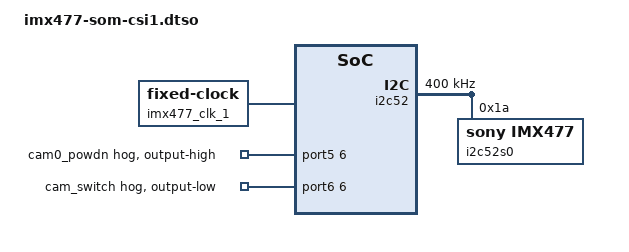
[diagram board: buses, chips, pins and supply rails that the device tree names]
// SPDX-License-Identifier: (GPL-2.0+ OR MIT)
/*
 * Copyright (c) 2025 SiMa ai
 */

/dts-v1/;
/plugin/;

/ {
    fragment@10 {
        target-path = "/"; /* Root node of the base tree */
        __overlay__ {
            imx477_clk_1: csi1_camera-clk {
                compatible = "fixed-clock";
                #clock-cells = <0>;
                clock-frequency = <24000000>;
            };
        };
    };
};

&port5 {
       cam-hog0 {
               gpio-hog;
               /* Set port5 gpio6 to GPIO_ACTIVE_HIGH mode */
               gpios = <6 0>;
               output-high;
               line-name = "cam0_powdn";
       };
};

&port6 {
       cam-tog {
               gpio-hog;
               /* Set port6 gpio6 to GPIO_ACTIVE_HIGH mode */
               gpios = <6 0>;
               output-low;
               line-name = "cam_switch";
       };
};

&i2c52 {
        status = "okay";
        clock-frequency = <400000>;
        #address-cells = <1>;
        #size-cells = <0>;

        i2c52s0: sensor@1a {
            compatible = "sony,imx477";
            reg = <0x1a>;
            clocks = <&imx477_clk_1>;
            clock-names = "xclk";
        };
};
